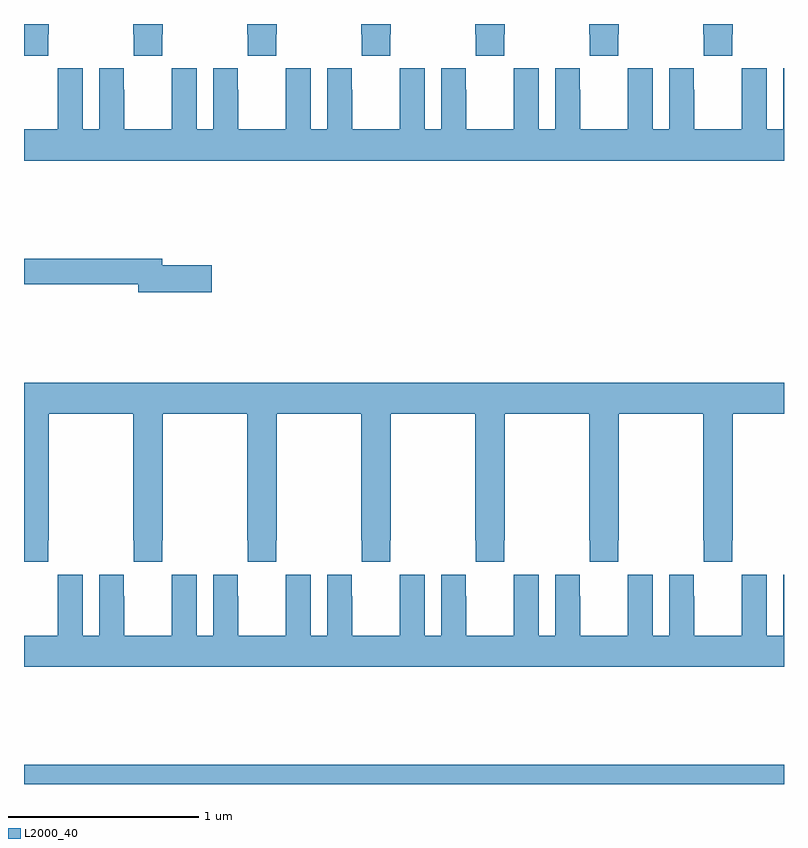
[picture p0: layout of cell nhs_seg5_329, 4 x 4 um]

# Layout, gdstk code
import gdstk
lib = gdstk.Library(unit=1e-6, precision=1e-09)
def R(c, l, rs):  # rectangles x0, y0, x1, y1
    for r in rs: c.add(gdstk.rectangle(r[:2], r[2:], *l))
def P(c, l, *ps):  # polygons
    for p in ps: c.add(gdstk.Polygon(p, *l))
L2000_40 = (2000, 40)

nhs_seg5_329 = lib.new_cell('nhs_seg5_329')
R(nhs_seg5_329, L2000_40, [(131,866.799,135,866.9)])
P(nhs_seg5_329, L2000_40, [(131,870.633),(131.127,870.633),(131.127,870.745),(131.13,870.745),(131.13,870.799),(131,870.799)],
  [(131.727,870.745),(131.73,870.745),(131.73,870.799),(131.575,870.799),(131.575,870.745),(131.577,870.745),(131.577,870.633),(131.727,870.633)],
  [(132.327,870.745),(132.33,870.745),(132.33,870.799),(132.175,870.799),(132.175,870.745),(132.177,870.745),(132.177,870.633),(132.327,870.633)],
  [(132.927,870.745),(132.93,870.745),(132.93,870.799),(132.775,870.799),(132.775,870.745),(132.777,870.745),(132.777,870.633),(132.927,870.633)],
  [(133.527,870.745),(133.53,870.745),(133.53,870.799),(133.375,870.799),(133.375,870.745),(133.377,870.745),(133.377,870.633),(133.527,870.633)],
  [(134.127,870.745),(134.13,870.745),(134.13,870.799),(133.975,870.799),(133.975,870.745),(133.977,870.745),(133.977,870.633),(134.127,870.633)],
  [(134.727,870.745),(134.73,870.745),(134.73,870.799),(134.575,870.799),(134.575,870.745),(134.577,870.745),(134.577,870.633),(134.727,870.633)],
  [(135,870.565),(134.996,870.565),(134.996,870.244),(134.908,870.244),(134.908,870.565),(134.778,870.565),(134.778,870.452),(134.777,870.452),(134.777,870.244),(134.527,870.244),(134.527,870.452),(134.526,870.452),(134.526,870.565),(134.396,870.565),(134.396,870.244),(134.308,870.244),(134.308,870.565),(134.178,870.565),(134.178,870.452),(134.177,870.452),(134.177,870.244),(133.927,870.244),(133.927,870.452),(133.926,870.452),(133.926,870.565),(133.796,870.565),(133.796,870.244),(133.708,870.244),(133.708,870.565),(133.578,870.565),(133.578,870.452),(133.577,870.452),(133.577,870.244),(133.327,870.244),(133.327,870.452),(133.326,870.452),(133.326,870.565),(133.196,870.565),(133.196,870.244),(133.108,870.244),(133.108,870.565),(132.978,870.565),(132.978,870.452),(132.977,870.452),(132.977,870.244),(132.727,870.244),(132.727,870.452),(132.726,870.452),(132.726,870.565),(132.596,870.565),(132.596,870.244),(132.508,870.244),(132.508,870.565),(132.378,870.565),(132.378,870.452),(132.377,870.452),(132.377,870.244),(132.127,870.244),(132.127,870.452),(132.126,870.452),(132.126,870.565),(131.996,870.565),(131.996,870.244),(131.908,870.244),(131.908,870.565),(131.778,870.565),(131.778,870.452),(131.777,870.452),(131.777,870.244),(131.527,870.244),(131.527,870.452),(131.526,870.452),(131.526,870.565),(131.396,870.565),(131.396,870.244),(131.308,870.244),(131.308,870.565),(131.178,870.565),(131.178,870.452),(131.177,870.452),(131.177,870.244),(131,870.244),(131,870.08),(135,870.08)],
  [(131.989,869.528),(131.728,869.528),(131.728,869.564),(131,869.564),(131,869.428),(131.6,869.428),(131.6,869.386),(131.989,869.386)],
  [(131.127,868.081),(131.13,868.081),(131.13,868.748),(131.575,868.748),(131.575,868.081),(131.577,868.081),(131.577,867.969),(131.727,867.969),(131.727,868.081),(131.73,868.081),(131.73,868.748),(132.175,868.748),(132.175,868.081),(132.177,868.081),(132.177,867.969),(132.327,867.969),(132.327,868.081),(132.33,868.081),(132.33,868.748),(132.775,868.748),(132.775,868.081),(132.777,868.081),(132.777,867.969),(132.927,867.969),(132.927,868.081),(132.93,868.081),(132.93,868.748),(133.375,868.748),(133.375,868.081),(133.377,868.081),(133.377,867.969),(133.527,867.969),(133.527,868.081),(133.53,868.081),(133.53,868.748),(133.975,868.748),(133.975,868.081),(133.977,868.081),(133.977,867.969),(134.127,867.969),(134.127,868.081),(134.13,868.081),(134.13,868.748),(134.575,868.748),(134.575,868.081),(134.577,868.081),(134.577,867.969),(134.727,867.969),(134.727,868.081),(134.73,868.081),(134.73,868.748),(135,868.748),(135,868.912),(131,868.912),(131,867.969),(131.127,867.969)],
  [(135,867.901),(134.996,867.901),(134.996,867.58),(134.908,867.58),(134.908,867.901),(134.778,867.901),(134.778,867.788),(134.777,867.788),(134.777,867.58),(134.527,867.58),(134.527,867.788),(134.526,867.788),(134.526,867.901),(134.396,867.901),(134.396,867.58),(134.308,867.58),(134.308,867.901),(134.178,867.901),(134.178,867.788),(134.177,867.788),(134.177,867.58),(133.927,867.58),(133.927,867.788),(133.926,867.788),(133.926,867.901),(133.796,867.901),(133.796,867.58),(133.708,867.58),(133.708,867.901),(133.578,867.901),(133.578,867.788),(133.577,867.788),(133.577,867.58),(133.327,867.58),(133.327,867.788),(133.326,867.788),(133.326,867.901),(133.196,867.901),(133.196,867.58),(133.108,867.58),(133.108,867.901),(132.978,867.901),(132.978,867.788),(132.977,867.788),(132.977,867.58),(132.727,867.58),(132.727,867.788),(132.726,867.788),(132.726,867.901),(132.596,867.901),(132.596,867.58),(132.508,867.58),(132.508,867.901),(132.378,867.901),(132.378,867.788),(132.377,867.788),(132.377,867.58),(132.127,867.58),(132.127,867.788),(132.126,867.788),(132.126,867.901),(131.996,867.901),(131.996,867.58),(131.908,867.58),(131.908,867.901),(131.778,867.901),(131.778,867.788),(131.777,867.788),(131.777,867.58),(131.527,867.58),(131.527,867.788),(131.526,867.788),(131.526,867.901),(131.396,867.901),(131.396,867.58),(131.308,867.58),(131.308,867.901),(131.178,867.901),(131.178,867.788),(131.177,867.788),(131.177,867.58),(131,867.58),(131,867.416),(135,867.416)])

lib.write_gds('nhs_seg5_329.gds')
